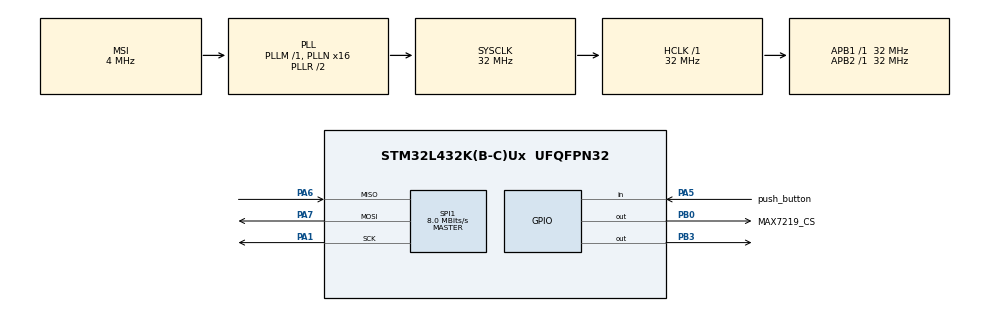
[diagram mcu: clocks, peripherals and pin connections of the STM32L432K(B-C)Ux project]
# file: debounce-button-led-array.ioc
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Mcu.Family=STM32L4
Mcu.Name=STM32L432K(B-C)Ux
Mcu.Package=UFQFPN32
NUCLEO-L432KC.Bsp_Common_DEMO=true
NUCLEO-L432KC.LD3=true
NVIC.PriorityGroup=NVIC_PRIORITYGROUP_4
PA0.GPIO_Label=MCO [High speed clock in]
PA0.Signal=RCC_CK_IN
PA1.Mode=Full_Duplex_Master
PA1.Signal=SPI1_SCK
PA13\ (JTMS-SWDIO).GPIO_Label=SWDIO
PA13\ (JTMS-SWDIO).Signal=SYS_JTMS-SWDIO
PA14\ (JTCK-SWCLK).GPIO_Label=SWCLK
PA14\ (JTCK-SWCLK).Signal=SYS_JTCK-SWCLK
PA15\ (JTDI).GPIO_Label=VCP_RX
PA15\ (JTDI).Signal=USART2_RX
PA2.GPIO_Label=VCP_TX
PA2.Signal=USART2_TX
PA5.GPIO_Label=push_button
PA5.GPIO_PuPd=GPIO_PULLUP
PA5.Signal=GPIO_Input
PA6.Mode=Full_Duplex_Master
PA6.Signal=SPI1_MISO
PA7.Mode=Full_Duplex_Master
PA7.Signal=SPI1_MOSI
PB0.GPIO_Label=MAX7219_CS
PB0.PinState=GPIO_PIN_SET
PB0.Signal=GPIO_Output
PB3\ (JTDO-TRACESWO).Signal=GPIO_Output
PC14-OSC32_IN\ (PC14).Signal=RCC_OSC32_IN
PC15-OSC32_OUT\ (PC15).Signal=RCC_OSC32_OUT
ProjectManager.HeapSize=0x200
ProjectManager.StackSize=0x400
ProjectManager.TargetToolchain=CMake
RCC.AHBFreq_Value=32000000
RCC.APB1Freq_Value=32000000
RCC.APB1TimFreq_Value=32000000
RCC.APB2Freq_Value=32000000
RCC.APB2TimFreq_Value=32000000
RCC.CortexFreq_Value=32000000
RCC.HCLKFreq_Value=32000000
RCC.HSE_VALUE=8000000
RCC.HSI16_VALUE=16000000
RCC.HSI48_VALUE=48000000
RCC.HSI_VALUE=16000000
RCC.LSE_VALUE=32768
RCC.MSI_VALUE=4000000
RCC.PLLMUL=RCC_PLLMUL_4
RCC.PLLN=16
RCC.SYSCLKFreq_VALUE=32000000
RCC.SYSCLKSource=RCC_SYSCLKSOURCE_PLLCLK
RCC.VCOOutputFreq_Value=64000000
SPI1.BaudRatePrescaler=SPI_BAUDRATEPRESCALER_4
SPI1.CalculateBaudRate=8.0 MBits/s
SPI1.DataSize=SPI_DATASIZE_8BIT
SPI1.Direction=SPI_DIRECTION_2LINES
SPI1.Mode=SPI_MODE_MASTER
SPI1.VirtualType=VM_MASTER
VP_NUCLEO-L432KC_VS_BSP_COMMON.Mode=COMMON
board=NUCLEO-L432KC

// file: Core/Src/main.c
/* USER CODE BEGIN Header */
/**
  ******************************************************************************
  * @file           : main.c
  * @brief          : Main program body
  ******************************************************************************
  * @attention
  *
  * Copyright (c) 2026 STMicroelectronics.
  * All rights reserved.
  *
  * This software is licensed under terms that can be found in the LICENSE file
  * in the root directory of this software component.
  * If no LICENSE file comes with this software, it is provided AS-IS.
  *
  ******************************************************************************
  */
/* USER CODE END Header */
#include "main.h"
#include "stm32l4xx_hal_gpio.h"

/* USER CODE BEGIN PTD */
typedef enum {
    BUTTON_STATE_IDLE = 0,
    BUTTON_STATE_DEBOUNCING,
    BUTTON_STATE_WAIT_RELEASE
} ButtonState_t;

/* USER CODE END PTD */

/* USER CODE BEGIN PD */

#define MAX7219_REG_NOOP        0x00
#define MAX7219_REG_DIGIT0      0x01
#define MAX7219_REG_DIGIT1      0x02
#define MAX7219_REG_DIGIT2      0x03
#define MAX7219_REG_DIGIT3      0x04
#define MAX7219_REG_DIGIT4      0x05
#define MAX7219_REG_DIGIT5      0x06
#define MAX7219_REG_DIGIT6      0x07
#define MAX7219_REG_DIGIT7      0x08
#define MAX7219_REG_DECODEMODE  0x09
#define MAX7219_REG_INTENSITY   0x0A
#define MAX7219_REG_SCANLIMIT   0x0B
#define MAX7219_REG_SHUTDOWN    0x0C
#define MAX7219_REG_DISPLAYTEST 0x0F

/* USER CODE END PD */

SPI_HandleTypeDef hspi1;

void SystemClock_Config(void);
static void MX_GPIO_Init(void);
static void MX_SPI1_Init(void);

/* USER CODE BEGIN 0 */

/* Send a 16-bit address/data pair over SPI */
void MAX7219_Write(uint8_t address, uint8_t data) {
    uint8_t packet[2] = {address, data};

    // Pull CS low to begin frame
    HAL_GPIO_WritePin(MAX7219_CS_GPIO_Port, MAX7219_CS_Pin, GPIO_PIN_RESET);

    // Transmit 2 bytes over SPI1
    HAL_SPI_Transmit(&hspi1, packet, 2, HAL_MAX_DELAY);

    // Pull CS high to latch data into MAX7219
    HAL_GPIO_WritePin(MAX7219_CS_GPIO_Port, MAX7219_CS_Pin, GPIO_PIN_SET);
}

/* Initialize MAX7219 configuration registers */
void MAX7219_Init(void) {
    MAX7219_Write(MAX7219_REG_DISPLAYTEST, 0x00); // Disable display test
    MAX7219_Write(MAX7219_REG_SCANLIMIT,   0x07); // Scan all 8 rows (0-7)
    MAX7219_Write(MAX7219_REG_DECODEMODE,  0x00); // Raw matrix mode (no BCD decoding)
    MAX7219_Write(MAX7219_REG_INTENSITY,   0x03); // Set brightness level (0x00 to 0x0F)
    MAX7219_Write(MAX7219_REG_SHUTDOWN,    0x01); // Wake up display (normal operation)

    // Clear matrix display memory
    for (uint8_t row = 1; row <= 8; row++) {
        MAX7219_Write(row, 0x00);
    }
}

/* Display an 8x8 frame buffer (array of 8 bytes) */
void MAX7219_DisplayBuffer(const uint8_t *buffer) {
    for (uint8_t i = 0; i < 8; i++) {
        MAX7219_Write(i + 1, buffer[i]);
    }
}

/* USER CODE END 0 */

int main(void)
{

  /* MCU Configuration--------------------------------------------------------*/

  /* Reset of all peripherals, Initializes the Flash interface and the Systick. */
  HAL_Init();

  /* Configure the system clock */
  SystemClock_Config();

  /* Initialize all configured peripherals */
  MX_GPIO_Init();
  MX_SPI1_Init();
  /* USER CODE BEGIN 2 */

  MAX7219_Init();

  // Example bitmap: Smile pattern
const uint8_t smile_pattern[8] = {
    0b00111100,
    0b01000010,
    0b10100101,
    0b10000001,
    0b10100101,
    0b10011001,
    0b01000010,
    0b00111100
};

// Example bitmap: Heart pattern
const uint8_t heart_pattern[8] = {
    0b00000000,
    0b01100110,
    0b11111111,
    0b11111111,
    0b01111110,
    0b00111100,
    0b00011000,
    0b00000000
};

  static ButtonState_t button_state = BUTTON_STATE_IDLE;
  static uint32_t debounce_start_tick = 0;

  /* USER CODE END 2 */

  /* Initialize leds */
  BSP_LED_Init(LED_GREEN);

  /* USER CODE BEGIN BSP */

  /* -- Sample board code to switch on leds ---- */
  BSP_LED_On(LED_GREEN);

  MAX7219_Write(MAX7219_REG_INTENSITY, 0x00);

  /* USER CODE END BSP */

  /* Infinite loop */
  /* USER CODE BEGIN WHILE */

  while (1)
  {
    switch (button_state) {
        case BUTTON_STATE_IDLE:
            // Check if button is pressed (assuming active-low / GPIO_PIN_RESET)
            if (HAL_GPIO_ReadPin(push_button_GPIO_Port, push_button_Pin) == GPIO_PIN_RESET) {
                debounce_start_tick = HAL_GetTick(); // Record the time the press started
                button_state = BUTTON_STATE_DEBOUNCING;
            }
            break;

        case BUTTON_STATE_DEBOUNCING:
            // Check if the button is still pressed
            if (HAL_GPIO_ReadPin(push_button_GPIO_Port, push_button_Pin) == GPIO_PIN_RESET) {
                // Has 50ms elapsed since the initial press detection?
                if ((HAL_GetTick() - debounce_start_tick) >= 50) {
                    // Confirmed valid press! Execute your action.
                    BSP_LED_Toggle(LED_GREEN);

                    // Move to state where we wait for the user to let go
                    button_state = BUTTON_STATE_WAIT_RELEASE;
                }
            } else {
                // Button was released early (it was just electrical noise/bounce)
                button_state = BUTTON_STATE_IDLE;
            }
            break;

        case BUTTON_STATE_WAIT_RELEASE:
            // Wait until the button is released (GPIO_PIN_SET)
            if (HAL_GPIO_ReadPin(push_button_GPIO_Port, push_button_Pin) == GPIO_PIN_SET) {
                button_state = BUTTON_STATE_IDLE;
            }
            break;
    }

    /* USER CODE END WHILE */

  }
}

void SystemClock_Config(void)
{
  RCC_OscInitTypeDef RCC_OscInitStruct = {0};
  RCC_ClkInitTypeDef RCC_ClkInitStruct = {0};

  /** Configure the main internal regulator output voltage
  */
  if (HAL_PWREx_ControlVoltageScaling(PWR_REGULATOR_VOLTAGE_SCALE1) != HAL_OK)
  {
    Error_Handler();
  }

  /** Initializes the RCC Oscillators according to the specified parameters
  * in the RCC_OscInitTypeDef structure.
  */
  RCC_OscInitStruct.OscillatorType = RCC_OSCILLATORTYPE_MSI;
  RCC_OscInitStruct.MSIState = RCC_MSI_ON;
  RCC_OscInitStruct.MSICalibrationValue = 0;
  RCC_OscInitStruct.MSIClockRange = RCC_MSIRANGE_6;
  RCC_OscInitStruct.PLL.PLLState = RCC_PLL_ON;
  RCC_OscInitStruct.PLL.PLLSource = RCC_PLLSOURCE_MSI;
  RCC_OscInitStruct.PLL.PLLM = 1;
  RCC_OscInitStruct.PLL.PLLN = 16;
  RCC_OscInitStruct.PLL.PLLP = RCC_PLLP_DIV7;
  RCC_OscInitStruct.PLL.PLLQ = RCC_PLLQ_DIV2;
  RCC_OscInitStruct.PLL.PLLR = RCC_PLLR_DIV2;
  if (HAL_RCC_OscConfig(&RCC_OscInitStruct) != HAL_OK)
  {
    Error_Handler();
  }

  /** Initializes the CPU, AHB and APB buses clocks
  */
  RCC_ClkInitStruct.ClockType = RCC_CLOCKTYPE_HCLK|RCC_CLOCKTYPE_SYSCLK
                              |RCC_CLOCKTYPE_PCLK1|RCC_CLOCKTYPE_PCLK2;
  RCC_ClkInitStruct.SYSCLKSource = RCC_SYSCLKSOURCE_PLLCLK;
  RCC_ClkInitStruct.AHBCLKDivider = RCC_SYSCLK_DIV1;
  RCC_ClkInitStruct.APB1CLKDivider = RCC_HCLK_DIV1;
  RCC_ClkInitStruct.APB2CLKDivider = RCC_HCLK_DIV1;

  if (HAL_RCC_ClockConfig(&RCC_ClkInitStruct, FLASH_LATENCY_1) != HAL_OK)
  {
    Error_Handler();
  }
}

static void MX_SPI1_Init(void)
{

  /* SPI1 parameter configuration*/
  hspi1.Instance = SPI1;
  hspi1.Init.Mode = SPI_MODE_MASTER;
  hspi1.Init.Direction = SPI_DIRECTION_2LINES;
  hspi1.Init.DataSize = SPI_DATASIZE_8BIT;
  hspi1.Init.CLKPolarity = SPI_POLARITY_LOW;
  hspi1.Init.CLKPhase = SPI_PHASE_1EDGE;
  hspi1.Init.NSS = SPI_NSS_SOFT;
  hspi1.Init.BaudRatePrescaler = SPI_BAUDRATEPRESCALER_4;
  hspi1.Init.FirstBit = SPI_FIRSTBIT_MSB;
  hspi1.Init.TIMode = SPI_TIMODE_DISABLE;
  hspi1.Init.CRCCalculation = SPI_CRCCALCULATION_DISABLE;
  hspi1.Init.CRCPolynomial = 7;
  hspi1.Init.CRCLength = SPI_CRC_LENGTH_DATASIZE;
  hspi1.Init.NSSPMode = SPI_NSS_PULSE_ENABLE;
  if (HAL_SPI_Init(&hspi1) != HAL_OK)
  {
    Error_Handler();
  }

}

static void MX_GPIO_Init(void)
{
  GPIO_InitTypeDef GPIO_InitStruct = {0};

  /* GPIO Ports Clock Enable */
  __HAL_RCC_GPIOC_CLK_ENABLE();
  __HAL_RCC_GPIOA_CLK_ENABLE();
  __HAL_RCC_GPIOB_CLK_ENABLE();

  /*Configure GPIO pin Output Level */
  HAL_GPIO_WritePin(MAX7219_CS_GPIO_Port, MAX7219_CS_Pin, GPIO_PIN_SET);

  /*Configure GPIO pin : VCP_TX_Pin */
  GPIO_InitStruct.Pin = VCP_TX_Pin;
  GPIO_InitStruct.Mode = GPIO_MODE_AF_PP;
  GPIO_InitStruct.Pull = GPIO_NOPULL;
  GPIO_InitStruct.Speed = GPIO_SPEED_FREQ_VERY_HIGH;
  GPIO_InitStruct.Alternate = GPIO_AF7_USART2;
  HAL_GPIO_Init(VCP_TX_GPIO_Port, &GPIO_InitStruct);

  /*Configure GPIO pin : push_button_Pin */
  GPIO_InitStruct.Pin = push_button_Pin;
  GPIO_InitStruct.Mode = GPIO_MODE_INPUT;
  GPIO_InitStruct.Pull = GPIO_PULLUP;
  HAL_GPIO_Init(push_button_GPIO_Port, &GPIO_InitStruct);

  /*Configure GPIO pin : MAX7219_CS_Pin */
  GPIO_InitStruct.Pin = MAX7219_CS_Pin;
  GPIO_InitStruct.Mode = GPIO_MODE_OUTPUT_PP;
  GPIO_InitStruct.Pull = GPIO_NOPULL;
  GPIO_InitStruct.Speed = GPIO_SPEED_FREQ_LOW;
  HAL_GPIO_Init(MAX7219_CS_GPIO_Port, &GPIO_InitStruct);

  /*Configure GPIO pin : VCP_RX_Pin */
  GPIO_InitStruct.Pin = VCP_RX_Pin;
  GPIO_InitStruct.Mode = GPIO_MODE_AF_PP;
  GPIO_InitStruct.Pull = GPIO_NOPULL;
  GPIO_InitStruct.Speed = GPIO_SPEED_FREQ_VERY_HIGH;
  GPIO_InitStruct.Alternate = GPIO_AF3_USART2;
  HAL_GPIO_Init(VCP_RX_GPIO_Port, &GPIO_InitStruct);

}

void Error_Handler(void)
{
  __disable_irq();
  while (1)
  {
  }
}
